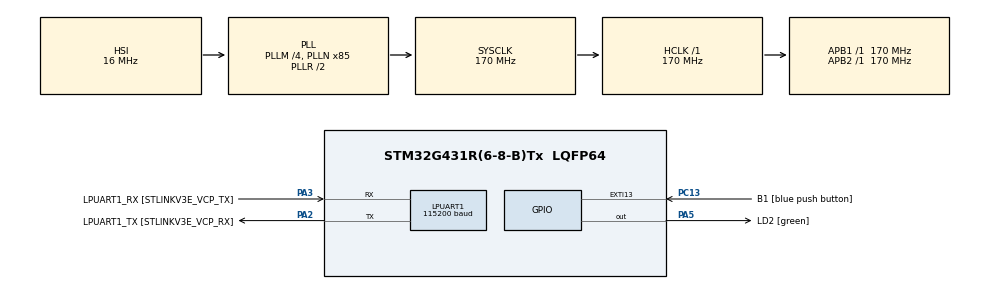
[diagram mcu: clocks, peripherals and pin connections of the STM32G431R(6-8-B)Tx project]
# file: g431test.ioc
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LPUART1.BaudRate=115200
LPUART1.WordLength=UART_WORDLENGTH_8B
Mcu.Family=STM32G4
Mcu.Name=STM32G431R(6-8-B)Tx
Mcu.Package=LQFP64
NVIC.PriorityGroup=NVIC_PRIORITYGROUP_4
PA13.GPIO_Label=T_SWDIO
PA13.Mode=Serial_Wire
PA13.Signal=SYS_JTMS-SWDIO
PA14.GPIO_Label=T_SWCLK
PA14.Mode=Serial_Wire
PA14.Signal=SYS_JTCK-SWCLK
PA2.GPIO_Label=LPUART1_TX [STLINKV3E_VCP_RX]
PA2.Mode=Asynchronous
PA2.Signal=LPUART1_TX
PA3.GPIO_Label=LPUART1_RX [STLINKV3E_VCP_TX]
PA3.Mode=Asynchronous
PA3.Signal=LPUART1_RX
PA5.GPIO_Label=LD2 [green]
PA5.Signal=GPIO_Output
PB3.GPIO_Label=T_SWO
PB3.Signal=SYS_JTDO-SWO
PC13.GPIO_Label=B1 [blue push button]
PC13.Signal=GPXTI13
PC14-OSC32_IN.Mode=LSE-External-Oscillator
PC14-OSC32_IN.Signal=RCC_OSC32_IN
PC15-OSC32_OUT.Mode=LSE-External-Oscillator
PC15-OSC32_OUT.Signal=RCC_OSC32_OUT
PF0-OSC_IN.Mode=HSE-External-Oscillator
PF0-OSC_IN.Signal=RCC_OSC_IN
PF1-OSC_OUT.Mode=HSE-External-Oscillator
PF1-OSC_OUT.Signal=RCC_OSC_OUT
ProjectManager.HeapSize=0x200
ProjectManager.StackSize=0x400
ProjectManager.TargetToolchain=STM32CubeIDE
RCC.ADC12Freq_Value=170000000
RCC.AHBFreq_Value=170000000
RCC.APB1Freq_Value=170000000
RCC.APB1TimFreq_Value=170000000
RCC.APB2Freq_Value=170000000
RCC.APB2TimFreq_Value=170000000
RCC.CortexFreq_Value=170000000
RCC.EXTERNAL_CLOCK_VALUE=12288000
RCC.HCLKFreq_Value=170000000
RCC.HSE_VALUE=24000000
RCC.HSI48_VALUE=48000000
RCC.HSI_VALUE=16000000
RCC.PLLM=RCC_PLLM_DIV4
RCC.PLLN=85
RCC.RTCClockSelection=RCC_RTCCLKSOURCE_LSE
RCC.SYSCLKFreq_VALUE=170000000
RCC.SYSCLKSource=RCC_SYSCLKSOURCE_PLLCLK
RCC.USBFreq_Value=170000000
RCC.VCOOutputFreq_Value=340000000
VP_SYS_VS_DBSignals.Mode=DisableDeadBatterySignals
board=NUCLEO-G431RB

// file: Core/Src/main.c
/* USER CODE BEGIN Header */
/**
  ******************************************************************************
  * @file           : main.c
  * @brief          : Main program body
  ******************************************************************************
  * @attention
  *
  * Copyright (c) 2022 STMicroelectronics.
  * All rights reserved.
  *
  * This software is licensed under terms that can be found in the LICENSE file
  * in the root directory of this software component.
  * If no LICENSE file comes with this software, it is provided AS-IS.
  *
  ******************************************************************************
  */
/* USER CODE END Header */
#include "main.h"

UART_HandleTypeDef hlpuart1;

void SystemClock_Config(void);
static void MX_GPIO_Init(void);
static void MX_LPUART1_UART_Init(void);

/* USER CODE BEGIN 0 */
#define	FLASH_PAGES_NUMBER		64
#define	FLASH_START_ADDRESS		((uint32_t)0x08000000u)
#define	FLASH_LASTPAGE_ADDRESS	(FLASH_START_ADDRESS + ((FLASH_PAGES_NUMBER-1)*FLASH_PAGE_SIZE))

uint32_t request_for_bootloader(void)
{
uint64_t flash_data=0xbeefdeaddeadbeef;

FLASH_EraseInitTypeDef erase_init;
uint32_t error = 0u,ret_val = HAL_ERROR;

	HAL_FLASH_Unlock();
	erase_init.TypeErase = FLASH_TYPEERASE_PAGES;
	erase_init.Page = FLASH_PAGES_NUMBER-1;
	erase_init.Banks = FLASH_BANK_1;
	erase_init.NbPages = 1;
	/* Do the actual erasing. */
	ret_val = HAL_FLASHEx_Erase(&erase_init, &error);
	if ( ret_val == HAL_OK )
		ret_val = HAL_FLASH_Program(FLASH_TYPEPROGRAM_DOUBLEWORD, FLASH_LASTPAGE_ADDRESS, flash_data);
	HAL_FLASH_Lock();
	return ret_val;
}

/* USER CODE END 0 */

int main(void)
{
  /* USER CODE BEGIN 1 */
uint8_t	pressed = 0;
  /* USER CODE END 1 */

  /* MCU Configuration--------------------------------------------------------*/

  /* Reset of all peripherals, Initializes the Flash interface and the Systick. */
  HAL_Init();

  /* Configure the system clock */
  SystemClock_Config();

  /* Initialize all configured peripherals */
  MX_GPIO_Init();
  MX_LPUART1_UART_Init();

  /* Infinite loop */
  /* USER CODE BEGIN WHILE */
  while (1)
  {
		HAL_GPIO_WritePin(LD2_GPIO_Port, LD2_Pin, GPIO_PIN_SET);
		HAL_Delay(100);
		HAL_GPIO_WritePin(LD2_GPIO_Port, LD2_Pin, GPIO_PIN_RESET);
		HAL_Delay(100);
		if (   HAL_GPIO_ReadPin(B1_GPIO_Port, B1_Pin) == 1 )
		{
			pressed++;
			if ( pressed >= 4 )
			{
				request_for_bootloader();
				HAL_GPIO_WritePin(LD2_GPIO_Port, LD2_Pin, GPIO_PIN_SET);
				HAL_Delay(2000);
				HAL_NVIC_SystemReset();
			}
		}

    /* USER CODE END WHILE */

  }
}

void SystemClock_Config(void)
{
  RCC_OscInitTypeDef RCC_OscInitStruct = {0};
  RCC_ClkInitTypeDef RCC_ClkInitStruct = {0};

  /** Configure the main internal regulator output voltage
  */
  HAL_PWREx_ControlVoltageScaling(PWR_REGULATOR_VOLTAGE_SCALE1_BOOST);
  /** Initializes the RCC Oscillators according to the specified parameters
  * in the RCC_OscInitTypeDef structure.
  */
  RCC_OscInitStruct.OscillatorType = RCC_OSCILLATORTYPE_HSI;
  RCC_OscInitStruct.HSIState = RCC_HSI_ON;
  RCC_OscInitStruct.HSICalibrationValue = RCC_HSICALIBRATION_DEFAULT;
  RCC_OscInitStruct.PLL.PLLState = RCC_PLL_ON;
  RCC_OscInitStruct.PLL.PLLSource = RCC_PLLSOURCE_HSI;
  RCC_OscInitStruct.PLL.PLLM = RCC_PLLM_DIV4;
  RCC_OscInitStruct.PLL.PLLN = 85;
  RCC_OscInitStruct.PLL.PLLP = RCC_PLLP_DIV2;
  RCC_OscInitStruct.PLL.PLLQ = RCC_PLLQ_DIV2;
  RCC_OscInitStruct.PLL.PLLR = RCC_PLLR_DIV2;
  if (HAL_RCC_OscConfig(&RCC_OscInitStruct) != HAL_OK)
  {
    Error_Handler();
  }
  /** Initializes the CPU, AHB and APB buses clocks
  */
  RCC_ClkInitStruct.ClockType = RCC_CLOCKTYPE_HCLK|RCC_CLOCKTYPE_SYSCLK
                              |RCC_CLOCKTYPE_PCLK1|RCC_CLOCKTYPE_PCLK2;
  RCC_ClkInitStruct.SYSCLKSource = RCC_SYSCLKSOURCE_PLLCLK;
  RCC_ClkInitStruct.AHBCLKDivider = RCC_SYSCLK_DIV1;
  RCC_ClkInitStruct.APB1CLKDivider = RCC_HCLK_DIV1;
  RCC_ClkInitStruct.APB2CLKDivider = RCC_HCLK_DIV1;

  if (HAL_RCC_ClockConfig(&RCC_ClkInitStruct, FLASH_LATENCY_4) != HAL_OK)
  {
    Error_Handler();
  }
}

static void MX_LPUART1_UART_Init(void)
{

  hlpuart1.Instance = LPUART1;
  hlpuart1.Init.BaudRate = 115200;
  hlpuart1.Init.WordLength = UART_WORDLENGTH_8B;
  hlpuart1.Init.StopBits = UART_STOPBITS_1;
  hlpuart1.Init.Parity = UART_PARITY_NONE;
  hlpuart1.Init.Mode = UART_MODE_TX_RX;
  hlpuart1.Init.HwFlowCtl = UART_HWCONTROL_NONE;
  hlpuart1.Init.OneBitSampling = UART_ONE_BIT_SAMPLE_DISABLE;
  hlpuart1.Init.ClockPrescaler = UART_PRESCALER_DIV1;
  hlpuart1.AdvancedInit.AdvFeatureInit = UART_ADVFEATURE_NO_INIT;
  if (HAL_UART_Init(&hlpuart1) != HAL_OK)
  {
    Error_Handler();
  }
  if (HAL_UARTEx_SetTxFifoThreshold(&hlpuart1, UART_TXFIFO_THRESHOLD_1_8) != HAL_OK)
  {
    Error_Handler();
  }
  if (HAL_UARTEx_SetRxFifoThreshold(&hlpuart1, UART_RXFIFO_THRESHOLD_1_8) != HAL_OK)
  {
    Error_Handler();
  }
  if (HAL_UARTEx_DisableFifoMode(&hlpuart1) != HAL_OK)
  {
    Error_Handler();
  }

}

static void MX_GPIO_Init(void)
{
  GPIO_InitTypeDef GPIO_InitStruct = {0};

  /* GPIO Ports Clock Enable */
  __HAL_RCC_GPIOC_CLK_ENABLE();
  __HAL_RCC_GPIOF_CLK_ENABLE();
  __HAL_RCC_GPIOA_CLK_ENABLE();
  __HAL_RCC_GPIOB_CLK_ENABLE();

  /*Configure GPIO pin Output Level */
  HAL_GPIO_WritePin(LD2_GPIO_Port, LD2_Pin, GPIO_PIN_RESET);

  /*Configure GPIO pin : B1_Pin */
  GPIO_InitStruct.Pin = B1_Pin;
  GPIO_InitStruct.Mode = GPIO_MODE_IT_RISING;
  GPIO_InitStruct.Pull = GPIO_NOPULL;
  HAL_GPIO_Init(B1_GPIO_Port, &GPIO_InitStruct);

  /*Configure GPIO pin : LD2_Pin */
  GPIO_InitStruct.Pin = LD2_Pin;
  GPIO_InitStruct.Mode = GPIO_MODE_OUTPUT_PP;
  GPIO_InitStruct.Pull = GPIO_NOPULL;
  GPIO_InitStruct.Speed = GPIO_SPEED_FREQ_LOW;
  HAL_GPIO_Init(LD2_GPIO_Port, &GPIO_InitStruct);

}

void Error_Handler(void)
{
  __disable_irq();
  while (1)
  {
  }
}
